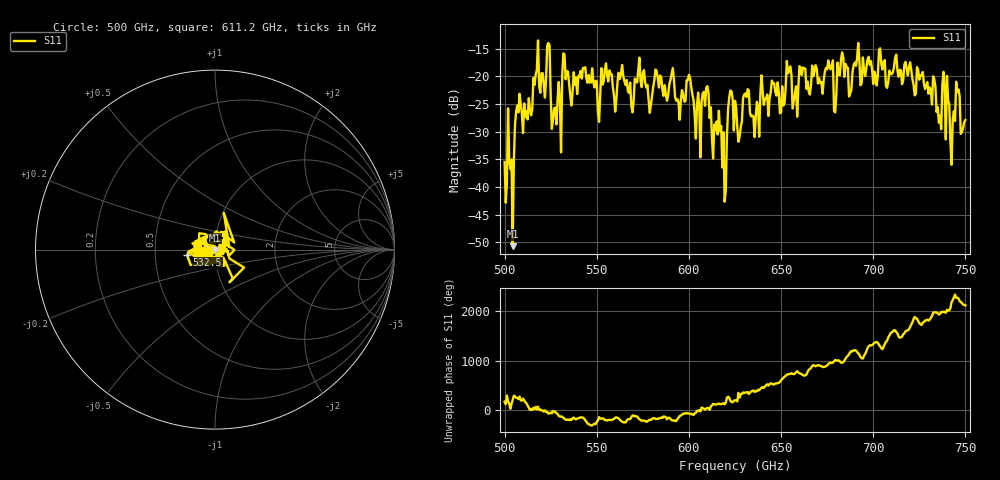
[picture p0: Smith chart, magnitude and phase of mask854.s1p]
!Created with skrf (http://scikit-rf.org).
# GHz S MA R 50.0
!freq magS11 angS11
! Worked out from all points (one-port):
!   401 points, 500 GHz to 750 GHz, reference 50 ohm
!   lowest |S11| = -50.7 dB at 504.4 GHz (marker M1), VSWR 1.01, Z = 49.8 - j0.158 ohm
!   |S11| at or under -10 dB: start of sweep to end of sweep
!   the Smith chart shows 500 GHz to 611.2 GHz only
!   S11 on the Smith chart (normalised r, x): 500 GHz: 0.97, +0.00; 532.5 GHz: 0.73, -0.04; 611.2 GHz: 1.08, +0.02
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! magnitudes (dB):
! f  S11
! 500 GHz  -35.5
! 504.4 GHz  -50.7
! 506.9 GHz  -25.3
! 513.8 GHz  -26.0
! 516.9 GHz  -19.7
! 523.8 GHz  -14.0
! 526.9 GHz  -25.8
! 531.2 GHz  -20.0
! 532.5 GHz  -16.1
! 550.6 GHz  -26.4
! 562.5 GHz  -20.5
! 579.4 GHz  -25.2
! 590.6 GHz  -19.6
! 593.8 GHz  -24.2
! 600 GHz  -19.8
! 605 GHz  -23.0
! 611.2 GHz  -27.6
! 619.4 GHz  -42.7
! 622.5 GHz  -22.6
! 625 GHz  -24.4
! 656.2 GHz  -25.8
! 676.9 GHz  -18.8
! 680 GHz  -23.0
! 683.8 GHz  -16.6
! 687.5 GHz  -23.1
! 691.2 GHz  -16.7
! 718.8 GHz  -19.8
! 750 GHz  -27.9
